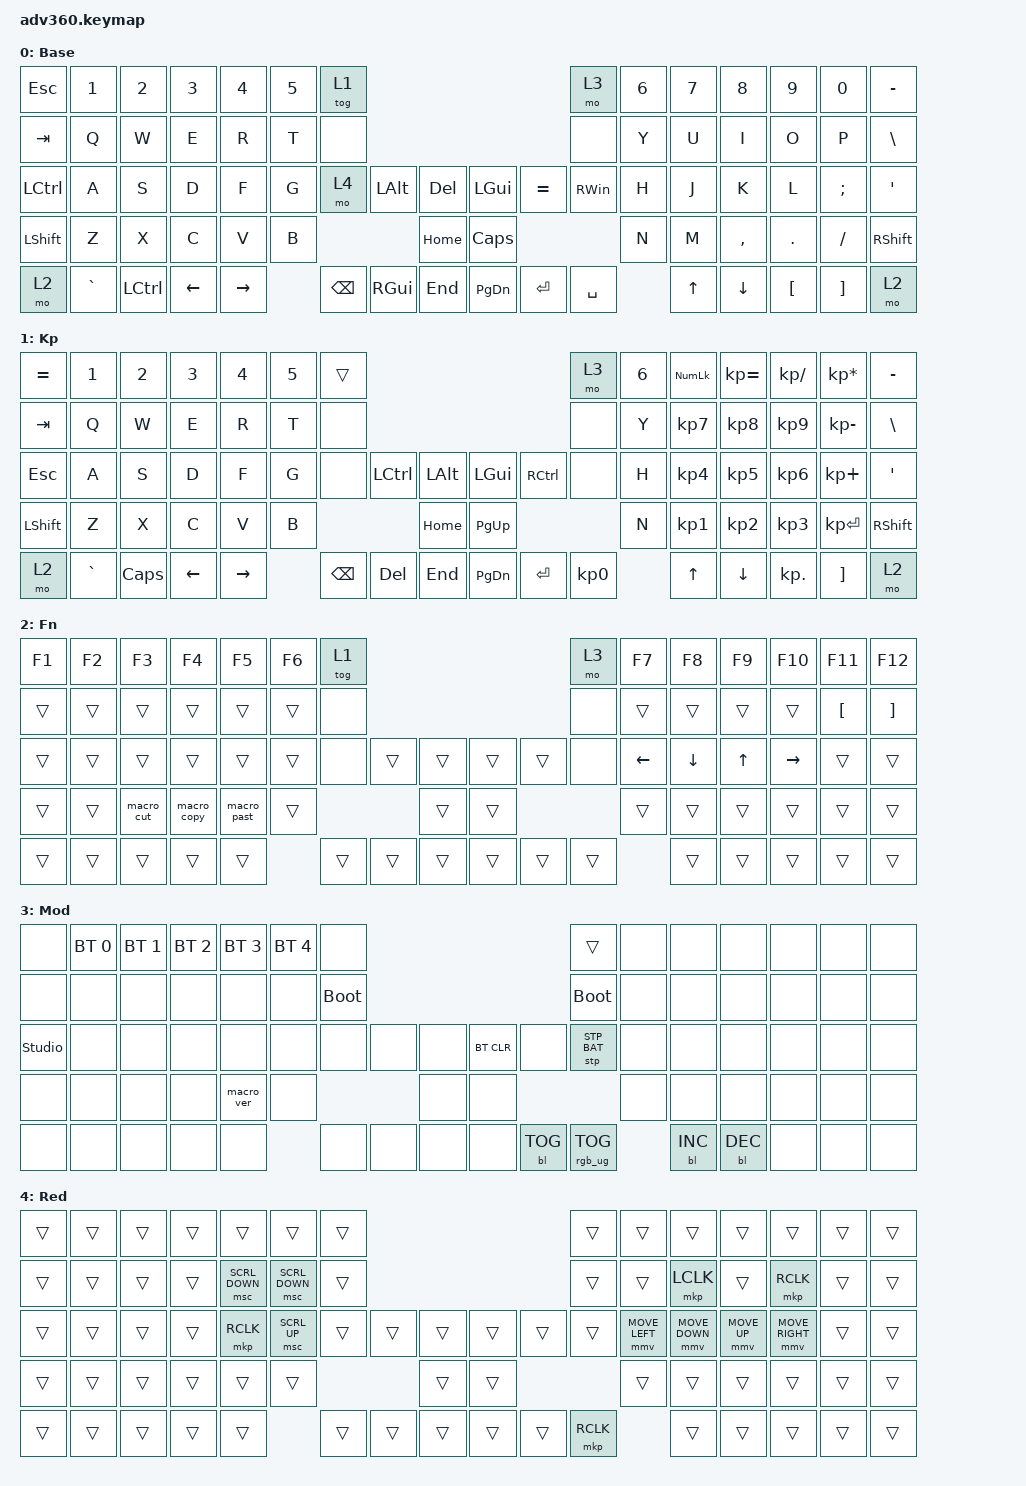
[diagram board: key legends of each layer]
/*
 * Copyright (c) 2020 The ZMK Contributors
 *
 * SPDX-License-Identifier: MIT
 */
/* THIS FILE WAS GENERATED!
 *
 * This file was generated automatically. You may or may not want to
 * edit it directly.
 */

#include <behaviors.dtsi>
#include <dt-bindings/zmk/backlight.h>
#include <dt-bindings/zmk/bt.h>
#include <dt-bindings/zmk/keys.h>
#include <dt-bindings/zmk/rgb.h>
#include <dt-bindings/zmk/stp.h>

// Mouse speed configuration (adjust these values to your preference)
#define ZMK_MOUSE_DEFAULT_MOVE_VAL 2500  // Speed for cursor movement (default: 600)
#define ZMK_MOUSE_DEFAULT_SCRL_VAL 200    // Speed for scrolling (default: 10)

#include <dt-bindings/zmk/pointing.h>

/ {
    behaviors {
      #include "macros.dtsi"
      #include "version.dtsi"

        hm: homerow_mods {
            compatible = "zmk,behavior-hold-tap";
            label = "HOMEROW_MODS";
            #binding-cells = <2>;
            tapping-term-ms = <200>;
            quick_tap_ms = <175>;
            flavor = "tap-preferred";
            bindings = <&kp>, <&kp>;
        };
    };

    keymap {
        compatible = "zmk,keymap";

    default_layer {
      display-name = "Base";
      bindings = <
        &kp ESC    &kp N1     &kp N2     &kp N3    &kp N4     &kp N5  &tog 1                                                            &mo 3          &kp N6  &kp N7  &kp N8     &kp N9    &kp N0    &kp MINUS
        &kp TAB    &kp Q      &kp W      &kp E     &kp R      &kp T   &none                                                             &none          &kp Y   &kp U   &kp I      &kp O     &kp P     &kp BSLH
        &kp LCTRL  &kp A      &kp S      &kp D     &kp F      &kp G   &mo 4     &kp LEFT_ALT   &kp DELETE      &kp LGUI      &kp EQUAL  &kp RIGHT_WIN  &kp H   &kp J   &kp K      &kp L     &kp SEMI  &kp SQT
        &kp LSHFT  &kp Z      &kp X      &kp C     &kp V      &kp B                            &kp HOME        &kp CAPSLOCK                            &kp N   &kp M   &kp COMMA  &kp DOT   &kp FSLH  &kp RSHFT
        &mo 2      &kp GRAVE  &kp LCTRL  &kp LEFT  &kp RIGHT          &kp BSPC  &kp RIGHT_GUI  &kp END         &kp PG_DN     &kp ENTER  &kp SPACE              &kp UP  &kp DOWN   &kp LBKT  &kp RBKT  &mo 2
      >;
    };
    keypad {
      display-name = "Kp";
      bindings = <
        &kp EQUAL  &kp N1     &kp N2    &kp N3    &kp N4     &kp N5  &trans                                                   &mo 3      &kp N6  &kp KP_NUM  &kp KP_EQUAL  &kp KP_DIVIDE  &kp KP_MULTIPLY  &kp MINUS
        &kp TAB    &kp Q      &kp W     &kp E     &kp R      &kp T   &none                                                    &none      &kp Y   &kp KP_N7   &kp KP_N8     &kp KP_N9      &kp KP_MINUS     &kp BSLH
        &kp ESC    &kp A      &kp S     &kp D     &kp F      &kp G   &none     &kp LCTRL  &kp LALT      &kp LGUI   &kp RCTRL  &none      &kp H   &kp KP_N4   &kp KP_N5     &kp KP_N6      &kp KP_PLUS      &kp SQT
        &kp LSHFT  &kp Z      &kp X     &kp C     &kp V      &kp B                        &kp HOME      &kp PG_UP                        &kp N   &kp KP_N1   &kp KP_N2     &kp KP_N3      &kp KP_ENTER     &kp RSHFT
        &mo 2      &kp GRAVE  &kp CAPS  &kp LEFT  &kp RIGHT          &kp BSPC  &kp DEL    &kp END       &kp PG_DN  &kp ENTER  &kp KP_N0          &kp UP      &kp DOWN      &kp KP_DOT     &kp RBKT         &mo 2
      >;
    };
    fn {
      display-name = "Fn";
      bindings = <
        &kp F1  &kp F2  &kp F3      &kp F4       &kp F5       &kp F6  &tog 1                                      &mo 3   &kp F7    &kp F8          &kp F9  &kp F10    &kp F11   &kp F12
        &trans  &trans  &trans      &trans       &trans       &trans  &none                                       &none   &trans    &trans          &trans  &trans     &kp LBKT  &kp RBKT
        &trans  &trans  &trans      &trans       &trans       &trans  &none   &trans  &trans      &trans  &trans  &none   &kp LEFT  &kp DOWN_ARROW  &kp UP  &kp RIGHT  &trans    &trans
        &trans  &trans  &macro_cut  &macro_copy  &macro_past  &trans                  &trans      &trans                  &trans    &trans          &trans  &trans     &trans    &trans
        &trans  &trans  &trans      &trans       &trans               &trans  &trans  &trans      &trans  &trans  &trans            &trans          &trans  &trans     &trans    &trans
      >;
    };
    mod {
      display-name = "Mod";
      bindings = <
        &none &bt BT_SEL 0 &bt BT_SEL 1 &bt BT_SEL 2 &bt BT_SEL 3 &bt BT_SEL 4 &none                                                                     &trans                 &none        &none        &none        &none &none &none
        &none &none        &none        &none        &none        &none        &bootloader                                                               &bootloader            &none        &none        &none        &none &none &none
        &studio_unlock &none        &none        &none        &none        &none        &none                   &none &none &bt BT_CLR &none                      &stp STP_BAT &none        &none        &none        &none &none &none
        &none &none        &none        &none        &macro_ver   &none                                      &none &none                                                        &none        &none        &none        &none &none &none
        &none &none        &none        &none        &none                                       &none &none &none &none      &bl BL_TOG &rgb_ug RGB_TOG                                     &bl BL_INC   &bl BL_DEC   &none &none &none
      >;
    };
    extra1 { 
      display-name = "Red";
      bindings = <
        &trans &trans &trans &trans &trans          &trans &trans                                           &trans &trans &trans         &trans         &trans          &trans &trans
        &trans &trans &trans &trans &msc SCRL_DOWN    &msc SCRL_DOWN &trans                                           &trans &trans &mkp LCLK      &trans   &mkp RCLK       &trans &trans
        &trans &trans &trans &trans &mkp RCLK  &msc SCRL_UP &trans &trans &trans &trans &trans               &trans &mmv MOVE_LEFT &mmv MOVE_DOWN &mmv MOVE_UP &mmv MOVE_RIGHT &trans &trans
        &trans &trans &trans &trans &trans          &trans               &trans &trans                             &trans &trans         &trans         &trans          &trans &trans
        &trans &trans &trans &trans &trans                 &trans &trans &trans &trans &trans &mkp RCLK                   &trans         &trans         &trans          &trans &trans
      >;
    };

    extra2 { 
      display-name = "Purple";    
      status = "reserved";
    };

    extra3 { 
      display-name = "Cyan";    
      status = "reserved";
    };

    extra4 { 
      display-name = "Yellow";    
      status = "reserved";
    };
  };
};

// Mouse movement settings (adjust acceleration and speed)
&mmv {
    time-to-max-speed-ms = <120>;    // Time to reach max speed (default: 300)
    acceleration-exponent = <1>;      // Smoothness of acceleration (0-2)
};

// Mouse scroll settings
&msc {
    time-to-max-speed-ms = <100>;     // Time to reach max scroll speed
    acceleration-exponent = <0>;       // Scroll acceleration (0 = constant speed)
};
